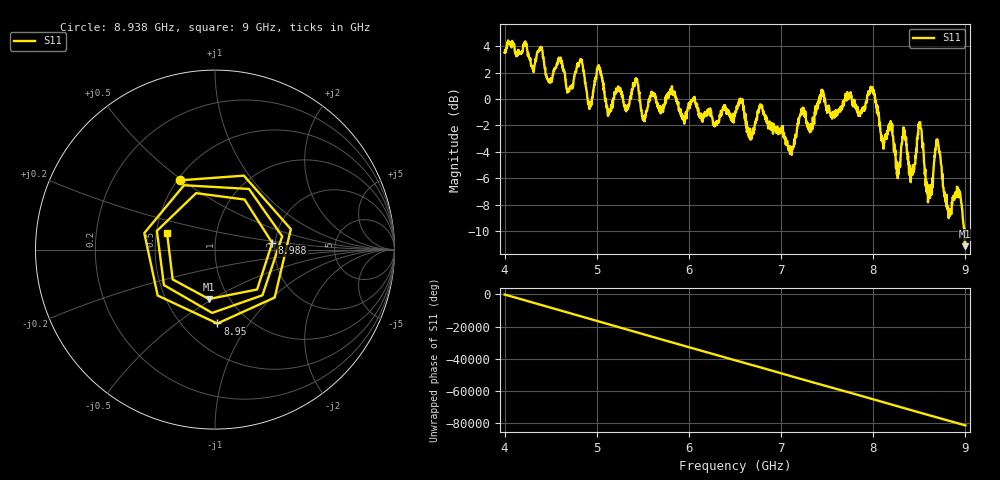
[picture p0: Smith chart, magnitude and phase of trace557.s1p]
! Created with skrf 1.8.0 (http://scikit-rf.org).
# Hz S RI R 50.0
!freq ReS11 ImS11
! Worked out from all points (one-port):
!   1601 points, 4 GHz to 9 GHz, reference 50 ohm
!   lowest |S11| = -11.1 dB at 8.994 GHz (marker M1), VSWR 1.77, Z = 40.3 - j24 ohm
!   |S11| at or under -10 dB: 8.991429 GHz to end of sweep
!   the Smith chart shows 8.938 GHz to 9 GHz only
!   S11 on the Smith chart (normalised r, x): 8.938 GHz: 0.52, +0.49; 8.95 GHz: 0.73, -0.72; 8.988 GHz: 1.93, +0.16; 9 GHz: 0.57, +0.11
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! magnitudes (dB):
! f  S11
! 4 GHz  3.5
! 4.625 GHz  2.7
! 4.697 GHz  0.6
! 4.831 GHz  2.9
! 4.922 GHz  -0.7
! 5.022 GHz  2.6
! 5.128 GHz  -1.2
! 5.25 GHz  0.6
! 5.875 GHz  -0.3
! 6.5 GHz  -1.1
! 6.788 GHz  -0.6
! 7.125 GHz  -3.8
! 7.225 GHz  -1.2
! 7.75 GHz  0.5
! 7.991 GHz  0.9
! 8.269 GHz  -5.7
! 8.331 GHz  -2.2
! 8.375 GHz  -4.6
! 8.428 GHz  -5.7
! 8.503 GHz  -2.2
! 8.603 GHz  -7.2
! 8.697 GHz  -3.2
! 8.825 GHz  -8.4
! 8.938 GHz  -7.3
! 8.95 GHz  -7.7
! 8.988 GHz  -9.9
! 8.994 GHz  -11.1
! 9 GHz  -11.0
